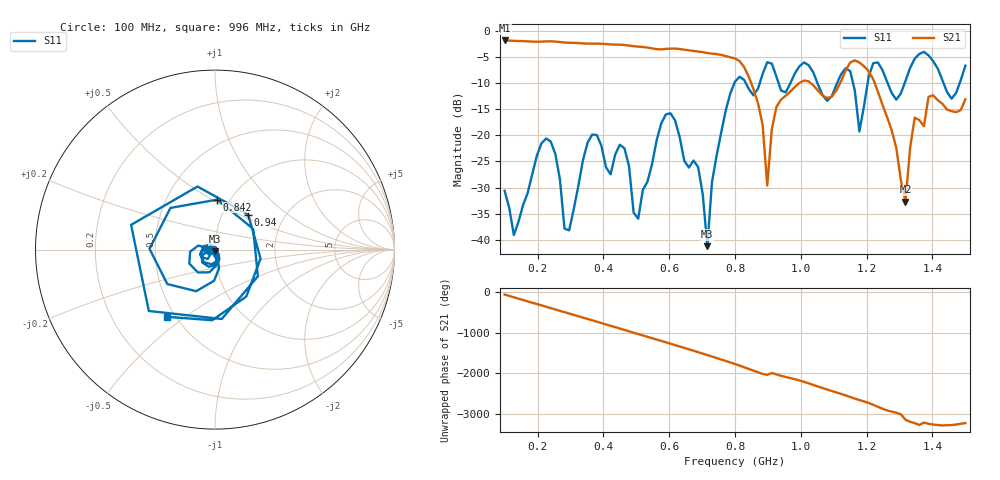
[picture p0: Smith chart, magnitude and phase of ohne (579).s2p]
! NanoVNA-App
! Date: 2025-09-25 14:25:18
! Start: 100MHz Stop: 1,5GHz Points: 101
! S-Parameter data: F S11 S21 S12 S22
# Hz S RI R 50
!  Frequency  S11_Real  S11_Imag  S21_Real  S21_Imag  S12_Real  S12_Imag  S22_Real  S22_Imag
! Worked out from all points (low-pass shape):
!   101 points, 100 MHz to 1.5 GHz, reference 50 ohm
!   highest |S21| = -1.79 dB at 100 MHz (marker M1); lowest = -32.7 dB at 1.318 GHz (marker M2)
!   |S21| within 3 dB of the highest: start of sweep to 771.8 MHz
!   lowest |S11| = -41.3 dB at 716 MHz (marker M3), VSWR 1.02, Z = 49.8 - j0.846 ohm
!   |S11| at or under -10 dB: start of sweep to 798 MHz; 833.1 MHz to 875.1 MHz (41.98 MHz wide, 4.92 % of centre); 1.051 GHz to 1.11 GHz (59.46 MHz wide, 5.5 % of centre) (the widest 3 of 7)
!   S12 and S22 are empty: the file has one direction only
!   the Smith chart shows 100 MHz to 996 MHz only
!   S11 on the Smith chart (normalised r, x): 100 MHz: 0.94, -0.01; 842 MHz: 0.88, +0.53; 940 MHz: 1.32, +0.56; 996 MHz: 0.45, -0.43
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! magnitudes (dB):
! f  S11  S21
! 100 MHz  -30.6  -1.8
! 128 MHz  -39.1  -1.9
! 226 MHz  -20.6  -2.0
! 296 MHz  -38.2  -2.2
! 338 MHz  -24.8  -2.4
! 464 MHz  -22.5  -2.7
! 506 MHz  -36.0  -3.0
! 576 MHz  -17.7  -3.5
! 688 MHz  -26.1  -3.9
! 716 MHz  -41.3  -4.2
! 800 MHz  -9.7  -5.2
! 842 MHz  -11.1  -8.8
! 898 MHz  -6.0  -29.6
! 940 MHz  -11.4  -13.1
! 996 MHz  -6.7  -9.9
! 1.038 GHz  -7.9  -10.4
! 1.178 GHz  -19.2  -6.0
! 1.22 GHz  -6.2  -9.2
! 1.276 GHz  -11.9  -19.0
! 1.318 GHz  -9.6  -32.7
! 1.346 GHz  -5.3  -16.6
! 1.5 GHz  -6.6  -13.1
